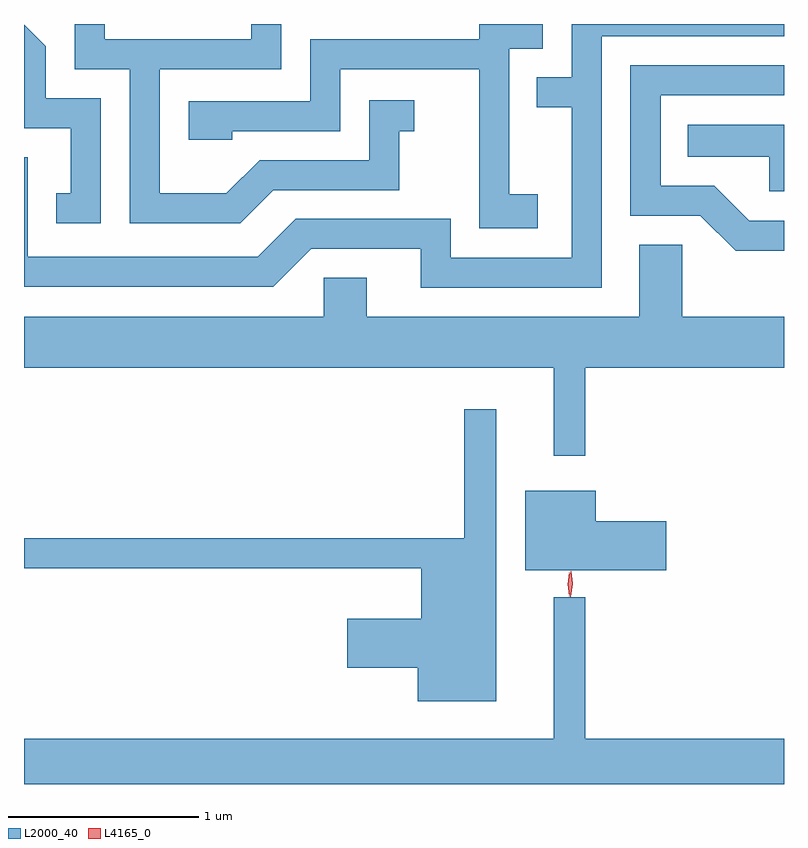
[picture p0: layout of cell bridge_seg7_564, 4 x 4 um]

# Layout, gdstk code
import gdstk
lib = gdstk.Library(unit=1e-6, precision=1e-09)
def P(c, l, *ps):  # polygons
    for p in ps: c.add(gdstk.Polygon(p, *l))
L2000_40 = (2000, 40)
L4165_0 = (4165, 0)

bridge_seg7_564 = lib.new_cell('bridge_seg7_564')
P(bridge_seg7_564, L2000_40, [(788.319,1784.049),(788.169,1784.049),(788.169,1784.816),(788.344,1784.816),(788.344,1784.945),(788.011,1784.945),(788.011,1784.864),(787.121,1784.864),(787.121,1784.539),(786.481,1784.539),(786.481,1784.336),(786.709,1784.336),(786.709,1784.381),(787.279,1784.381),(787.279,1784.706),(788.011,1784.706),(788.011,1783.871),(788.319,1783.871)],
  [(788.654,1784.881),(789.614,1784.881),(789.614,1784.945),(788.496,1784.945),(788.496,1784.664),(788.313,1784.664),(788.313,1784.506),(788.496,1784.506),(788.496,1783.714),(787.859,1783.714),(787.859,1783.919),(787.044,1783.919),(786.844,1783.719),(785.634,1783.719),(785.634,1784.244),(785.614,1784.244),(785.614,1783.561),(786.927,1783.561),(787.127,1783.761),(787.701,1783.761),(787.701,1783.556),(788.654,1783.556)],
  [(786.927,1784.071),(787.589,1784.071),(787.589,1784.381),(787.668,1784.381),(787.668,1784.544),(787.431,1784.544),(787.431,1784.229),(786.854,1784.229),(786.679,1784.054),(786.329,1784.054),(786.329,1784.706),(786.969,1784.706),(786.969,1784.943),(786.811,1784.943),(786.811,1784.864),(786.039,1784.864),(786.039,1784.945),(785.881,1784.945),(785.881,1784.706),(786.171,1784.706),(786.171,1783.896),(786.752,1783.896)],
  [(786.019,1784.554),(785.729,1784.554),(785.729,1784.827),(785.614,1784.942),(785.614,1784.396),(785.861,1784.396),(785.861,1784.054),(785.783,1784.054),(785.783,1783.896),(786.019,1783.896)],
  [(789.614,1783.909),(789.432,1783.909),(789.247,1784.094),(788.964,1784.094),(788.964,1784.571),(789.614,1784.571),(789.614,1784.729),(788.806,1784.729),(788.806,1783.936),(789.174,1783.936),(789.359,1783.751),(789.614,1783.751)],
  [(789.614,1784.414),(789.108,1784.414),(789.108,1784.246),(789.536,1784.246),(789.536,1784.066),(789.614,1784.066)],
  [(788.569,1783.136),(789.614,1783.136),(789.614,1783.404),(789.079,1783.404),(789.079,1783.784),(788.851,1783.784),(788.851,1783.404),(787.419,1783.404),(787.419,1783.609),(787.191,1783.609),(787.191,1783.404),(785.614,1783.404),(785.614,1783.136),(788.401,1783.136),(788.401,1782.673),(788.569,1782.673)],
  [(788.099,1782.918),(787.931,1782.918),(787.931,1782.239),(785.614,1782.239),(785.614,1782.081),(787.706,1782.081),(787.706,1781.814),(787.316,1781.814),(787.316,1781.556),(787.686,1781.556),(787.686,1781.381),(788.099,1781.381)],
  [(788.994,1782.329),(788.624,1782.329),(788.624,1782.489),(788.251,1782.489),(788.251,1782.071),(788.994,1782.071)],
  [(789.614,1781.184),(788.569,1781.184),(788.569,1781.928),(788.401,1781.928),(788.401,1781.184),(785.614,1781.184),(785.614,1780.945),(789.614,1780.945)])
P(bridge_seg7_564, L4165_0, [(788.485,1781.933),(788.484,1781.934),(788.475,1781.996),(788.484,1782.059),(788.484,1782.06),(788.485,1782.059),(788.495,1781.996),(788.485,1781.934)],
  [(788.49,1781.93),(788.482,1781.998),(788.492,1782.065),(788.493,1782.066),(788.493,1782.065),(788.502,1781.998),(788.491,1781.93),(788.491,1781.93)])

lib.write_gds('bridge_seg7_564.gds')
